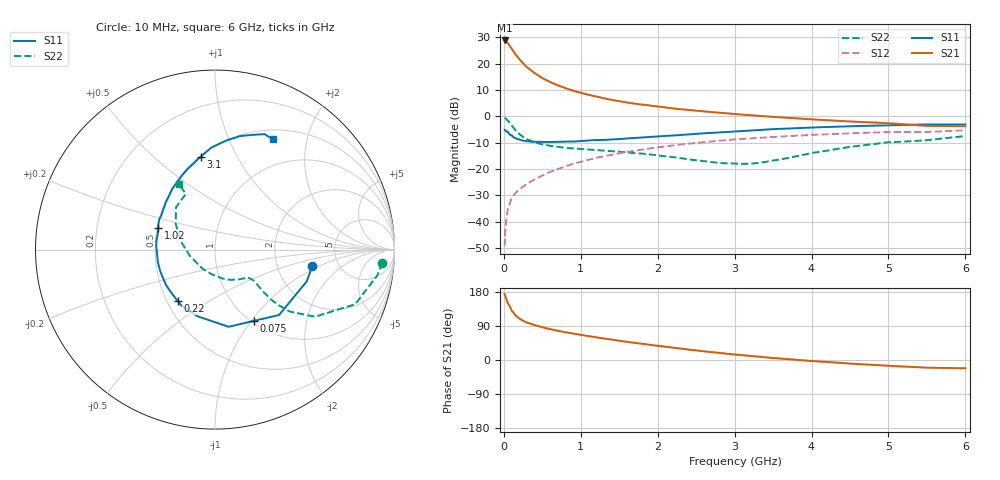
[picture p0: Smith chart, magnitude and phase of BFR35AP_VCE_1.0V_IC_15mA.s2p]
! Infineon Technologies  Discrete & RF Semiconductors
! BFR35AP
! VCE =  1.0 V,  IC =  15 mA
! Common Emitter S-Parameters:  Nov 2015
# GHz  S  MA  R  50
!  f  S11  S21  S12  S22
! GHz  MAG  ANG  MAG  ANG  MAG  ANG  MAG  ANG
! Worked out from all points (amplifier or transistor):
!   210 points, 10 MHz to 6 GHz, reference 50 ohm
!   highest |S21| = 28.8 dB at 10 MHz (marker M1)
!   |S21| within 3 dB of that: start of sweep to 98.5 MHz
!   unconditionally stable (mu >= 1): 332 MHz to end of sweep
!   at 185 MHz: K = 0.76, MSG = 25.3 dB, |S12| = -28.3 dB
!   at 1.52 GHz: K = 1.20, MAG = 7.1 dB, |S12| = -14.0 dB
!   at 6 GHz: K = 1.05, MAG = -0.6 dB, |S12| = -5.4 dB
!   S11 on the Smith chart (normalised r, x): 10 MHz: 3.19, -0.86; 75 MHz: 1.03, -1.03; 220 MHz: 0.57, -0.37; 1.02 GHz: 0.51, +0.14; 3.1 GHz: 0.51, +0.72; 6 GHz: 0.62, +1.48
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0.01  0.5498 -9.8  27.51 173.8  0.0034 85.0  0.9358 -4.5
0.02  0.5407 -19.2  27.08 167.4  0.0071 83.4  0.9154 -9.1
0.05  0.5099 -45.6  24.78 151.0  0.0166 72.7  0.8382 -21.3
0.075  0.4523 -61.4  21.74 142.3  0.0218 66.8  0.7506 -26.9
0.1  0.4368 -80.0  19.35 131.1  0.0271 63.2  0.6718 -33.8
0.15  0.384 -104.7  15.05 117.6  0.0347 60.0  0.5422 -39.6
0.2  0.3631 -121.3  12.16 109.5  0.0403 59.6  0.4603 -41.4
0.22  0.3532 -126.2  11.3 107.3  0.0426 59.9  0.4378 -41.5
0.26  0.3414 -136.0  9.731 102.5  0.0472 60.7  0.3964 -41.5
0.3  0.3368 -143.9  8.525 98.6  0.0515 61.9  0.3659 -41.3
0.4  0.3283 -158.1  6.581 91.9  0.0631 63.3  0.3182 -40.0
0.5  0.3258 -167.9  5.314 86.3  0.0747 64.6  0.2903 -39.0
0.6  0.324 -176.5  4.478 81.4  0.0872 64.9  0.2743 -38.7
0.7  0.3276 176.6  3.871 77.1  0.099 65.2  0.2622 -39.0
0.8  0.3302 171.0  3.404 73.2  0.1116 64.6  0.2519 -39.5
1.02  0.3391 159.3  2.734 65.7  0.139 63.3  0.2381 -41.9
1.4  0.3636 143.2  2.046 53.9  0.1854 59.6  0.2172 -49.3
2.02  0.4161 124.2  1.508 36.9  0.2584 51.7  0.179 -67.5
3.1  0.5232 98.8  1.073 12.7  0.3705 36.1  0.1244 -133.8
4.1  0.6169 82.8  0.856 -3.9  0.4486 21.8  0.2102 160.7
5.1  0.6764 71.1  0.72 -16.3  0.4996 7.9  0.3247 129.5
6  0.6947 62.1  0.647 -21.8  0.54 -1.7  0.4195 118.9
